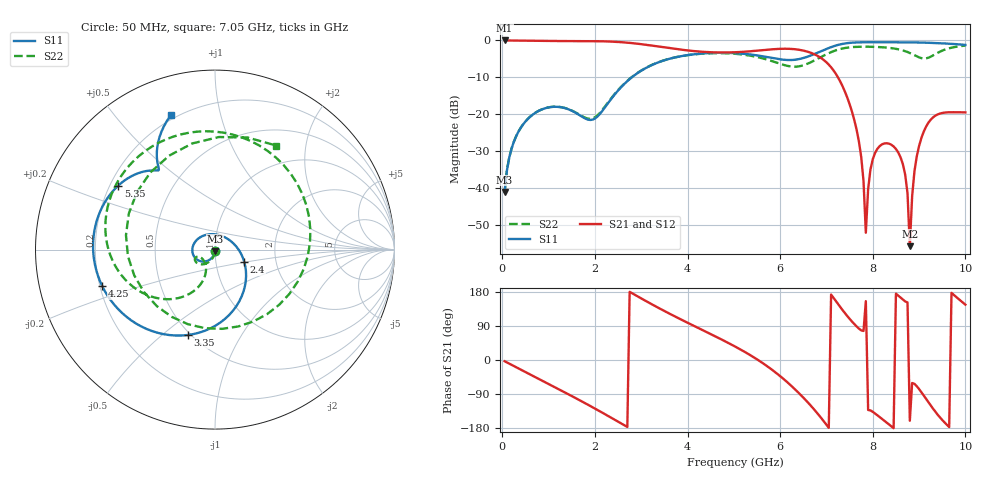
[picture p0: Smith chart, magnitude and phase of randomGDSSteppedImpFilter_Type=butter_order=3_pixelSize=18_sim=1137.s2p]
! freq	dB(S11)	phase(S11)	dB(S12)	phase(S12)
!  dB(S21)	phase(S21)	dB(S22)	phase(S22)
!S-par simulation data
#  GHz  S  DB  R 50
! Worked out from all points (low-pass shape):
!   200 points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, 50 MHz to 10 GHz, reference 50 ohm
!   highest |S21| = -0.01 dB at 50 MHz (marker M1); lowest = -55.7 dB at 8.8 GHz (marker M2)
!   |S21| within 3 dB of the highest: start of sweep to 4.253 GHz; 5.284 GHz to 6.58 GHz (1.296 GHz wide, 21.8 % of centre)
!   lowest |S11| = -41.0 dB at 50 MHz (marker M3), VSWR 1.02, Z = 50 - j0.888 ohm
!   |S11| at or under -10 dB: start of sweep to 2.795 GHz
!   |S22| runs from -41.0 to -1.4 dB; largest |S21 - S12| = 0
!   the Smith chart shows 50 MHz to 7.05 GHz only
!   S11 on the Smith chart (normalised r, x): 50 MHz: 1.00, -0.02; 2.4 GHz: 1.37, -0.19; 3.35 GHz: 0.48, -0.61; 4.25 GHz: 0.21, -0.15; 5.35 GHz: 0.23, +0.29; 7.05 GHz: 0.18, +0.71
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0.05  -41.02 -92.0  -0.01 -3.2  -0.01 -3.2  -41.01 -91.1
0.55  -21.25 -130.1  -0.08 -34.9  -0.08 -34.9  -21.23 -120.5
1.75  -20.85 109.2  -0.17 -111.4  -0.17 -111.4  -20.67 -152.6
2.4  -15.04 -22.8  -0.34 -155.7  -0.34 -155.7  -14.90 -111.1
3.35  -6.02 -107.8  -1.61 139.0  -1.61 139.0  -6.00 -155.5
3.4  -5.79 -111.3  -1.70 135.8  -1.70 135.8  -5.77 -158.5
4.25  -3.60 -162.1  -3.00 83.4  -3.00 83.4  -3.64 148.7
5.05  -3.46 159.1  -3.19 34.0  -3.19 34.0  -3.64 90.1
5.35  -3.79 146.5  -2.94 13.1  -2.94 13.1  -4.11 61.6
6.25  -5.30 125.2  -2.30 -69.2  -2.30 -69.2  -7.07 -85.0
6.7  -3.89 120.4  -3.53 -125.8  -3.53 -125.8  -5.67 157.2
7.05  -2.05 108.0  -6.55 -179.1  -6.55 -179.1  -3.44 59.5
7.3  -1.05 94.2  -11.17 139.4  -11.17 139.4  -2.31 -11.7
7.65  -0.54 73.7  -24.10 88.7  -24.10 88.7  -1.74 -97.0
7.85  -0.49 63.0  -52.04 155.3  -52.04 155.3  -1.70 -135.6
8  -0.48 55.4  -32.14 -136.8  -32.14 -136.8  -1.73 -161.0
8.35  -0.49 38.4  -27.93 -170.0  -27.93 -170.0  -2.00 144.5
8.7  -0.52 21.8  -36.33 154.5  -36.33 154.5  -2.90 83.0
8.8  -0.53 17.1  -55.67 -160.2  -55.67 -160.2  -3.39 60.3
8.95  -0.55 9.9  -31.39 -69.2  -31.39 -69.2  -4.30 17.8
9.25  -0.66 -4.8  -21.46 -119.8  -21.46 -119.8  -4.40 -91.5
10  -1.22 -45.9  -19.46 146.0  -19.46 146.0  -1.40 126.6
